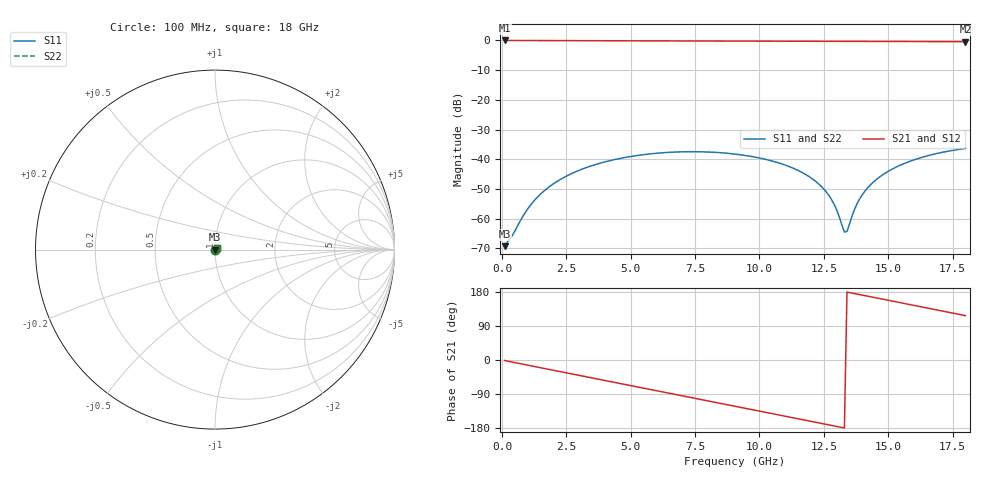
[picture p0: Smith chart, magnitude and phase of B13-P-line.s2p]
! yapnr rf coupon B: B13 P L6.5 (line, family P)
! stackup JLC06161H-2116C, nominal parameters; reference planes 10 mm from each end; 50 ohm (renormalized from the line's Zc)
! model: 2D quasi-static RLGC (Djordjevic-Sarkar, Huray roughness, Wheeler loss); generated by python -m yapnr.rf.coupons expected
# GHz S DB R 50
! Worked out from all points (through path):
!   180 points, 100 MHz to 18 GHz, reference 50 ohm
!   highest |S21| = -0.01 dB at 100 MHz (marker M1); lowest = -0.4 dB at 18 GHz (marker M2)
!   group delay of S21, straight-line fit = 37.4 ps
!   lowest |S11| = -69.3 dB at 100 MHz (marker M3), VSWR 1.00, Z = 50 + j0.0165 ohm
!   |S11| at or under -10 dB: start of sweep to end of sweep
!   |S22| runs from -69.3 to -36.4 dB; largest |S21 - S12| = 0
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0.1  -69.26 28.6  -0.01 -1.4  -0.01 -1.4  -69.26 28.6
0.9  -57.96 83.4  -0.03 -12.3  -0.03 -12.3  -57.96 83.4
1.4  -52.53 85.4  -0.04 -19.1  -0.04 -19.1  -52.53 85.4
2.2  -47.12 78.6  -0.06 -29.9  -0.06 -29.9  -47.12 78.6
3.1  -43.36 67.7  -0.08 -42.0  -0.08 -42.0  -43.36 67.7
4.6  -39.69 47.9  -0.12 -62.2  -0.12 -62.2  -39.69 47.9
6.1  -37.90 27.8  -0.15 -82.4  -0.15 -82.4  -37.90 27.8
7.6  -37.46 7.8  -0.19 -102.6  -0.19 -102.6  -37.46 7.8
9.1  -38.31 -12.0  -0.22 -122.8  -0.22 -122.8  -38.31 -12.0
10.8  -41.37 -33.6  -0.26 -145.7  -0.26 -145.7  -41.37 -33.6
12.1  -46.88 -47.6  -0.28 -163.2  -0.28 -163.2  -46.88 -47.6
12.5  -50.03 -49.8  -0.29 -168.6  -0.29 -168.6  -50.03 -49.8
12.8  -53.57 -48.5  -0.30 -172.6  -0.30 -172.6  -53.57 -48.5
13  -57.05 -43.0  -0.30 -175.3  -0.30 -175.3  -57.05 -43.0
13.3  -64.51 2.8  -0.31 -179.4  -0.31 -179.4  -64.51 2.8
13.4  -64.32 37.8  -0.31 179.3  -0.31 179.3  -64.32 37.8
13.7  -56.73 80.7  -0.32 175.2  -0.32 175.2  -56.73 80.7
14.1  -50.71 87.1  -0.33 169.8  -0.33 169.8  -50.71 87.1
14.5  -47.12 85.6  -0.34 164.4  -0.34 164.4  -47.12 85.6
15.1  -43.58 80.1  -0.35 156.3  -0.35 156.3  -43.58 80.1
16.4  -39.14 64.7  -0.38 138.8  -0.38 138.8  -39.14 64.7
18  -36.36 44.4  -0.41 117.1  -0.41 117.1  -36.36 44.4
